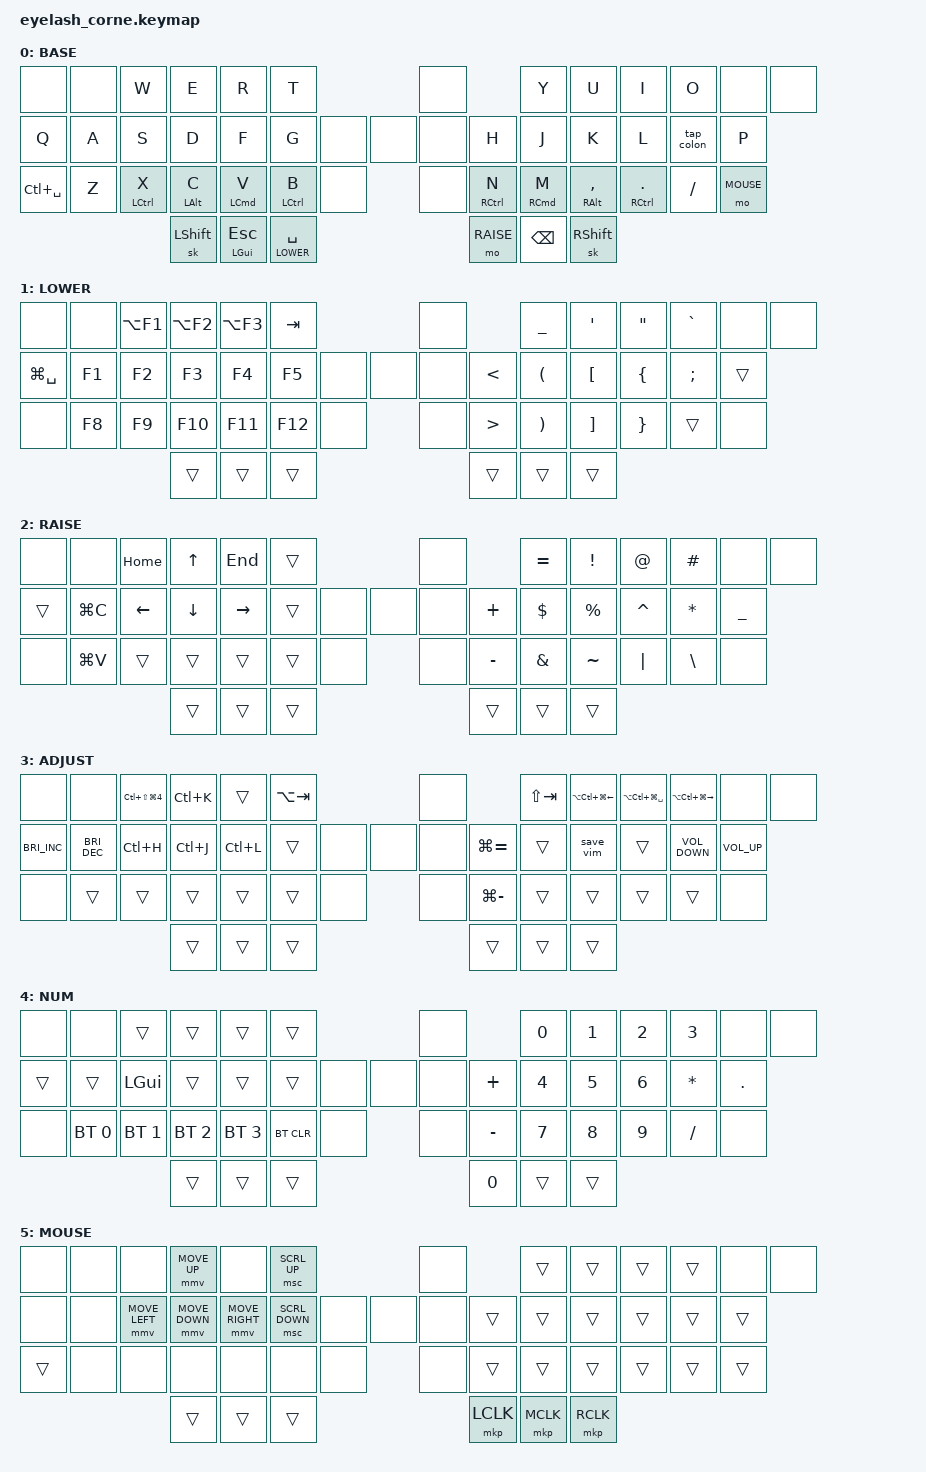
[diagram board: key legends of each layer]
/*
 * Scorpio 3 Keymap
 * ynot-keyboard layout ported to Eyelash Corne hardware + mouse layer
 *
 * Eyelash Corne 48-key matrix (positions per row: 13, 15, 14, 6 = 48 total):
 *
 * Row 0: | 0  | 1  | 2  | 3  | 4  | 5  |     | 6* |     | 7  | 8  | 9  | 10 | 11 | 12 |
 * Row 1: | 13 | 14 | 15 | 16 | 17 | 18 | 19* | 20*| 21* | 22 | 23 | 24 | 25 | 26 | 27 |
 * Row 2: | 28 | 29 | 30 | 31 | 32 | 33 | 34* |    | 35* | 36 | 37 | 38 | 39 | 40 | 41 |
 * Row 3:                     | 42 | 43 | 44 |          | 45 | 46 | 47 |
 *
 * 5-column ynot layout on 6-column board:
 *   Q and P moved to outer home row (pos 13 and 27) for pinky comfort
 *   Row 0 outer (0,1,11,12) = &none
 *   Row 2 outer: 28 = Ctrl+Space, 41 = mo MOUSE
 *   Center positions (6,19-21,34,35) = &none
 *
 * zmk-helpers 36.h label mapping (0=inner, 4=outer for left hand):
 *   LT0=4(T) LT1=3(R) LT2=2(E) LT3=1(W) LT4=0(Q)
 *   LM0=14(G) LM1=13(F) LM2=12(D) LM3=11(S) LM4=10(A)
 *   RT/RM: 0=inner(Y/H) to 4=outer(P/:)
 */

#define HM_TAPPING_TERM 300
#define HM_TAPPING_TERM_FAST 200
#define HM_PRIOR_IDLE 100

#include <behaviors.dtsi>
#include <dt-bindings/zmk/bt.h>
#include <dt-bindings/zmk/keys.h>
#include <dt-bindings/zmk/pointing.h>
#include <dt-bindings/zmk/mouse.h>

#define ZMK_MOUSE_DEFAULT_SCRL_VAL 80

#define BASE 0
#define LOWER 1
#define RAISE 2
#define ADJUST 3
#define NUMPAD 4
#define MOUSE 5

/* Key position groups for homerow mods (48-key positions) */
#define KEYS_L  1  2  3  4  5  13 14 15 16 17 18  29 30 31 32 33
#define KEYS_R  7  8  9  10 11  22 23 24 25 26 27  36 37 38 39 40
#define THUMBS  42 43 44  45 46 47

&lt {
    tapping-term-ms = <200>;
    quick-tap-ms = <150>;
    flavor = "tap-unless-interrupted";
};

&soft_off { hold-time-ms = <2000>; };

/ {
    behaviors {
        hml: homerow_mods_left {
            compatible = "zmk,behavior-hold-tap";
            #binding-cells = <2>;
            bindings = <&kp>, <&kp>;
            flavor = "balanced";
            tapping-term-ms = <HM_TAPPING_TERM>;
            quick-tap-ms = <175>;
            require-prior-idle-ms = <HM_PRIOR_IDLE>;
            hold-trigger-key-positions = <KEYS_R THUMBS>;
            hold-trigger-on-release;
        };

        hmr: homerow_mods_right {
            compatible = "zmk,behavior-hold-tap";
            #binding-cells = <2>;
            bindings = <&kp>, <&kp>;
            flavor = "balanced";
            tapping-term-ms = <HM_TAPPING_TERM>;
            quick-tap-ms = <175>;
            require-prior-idle-ms = <HM_PRIOR_IDLE>;
            hold-trigger-key-positions = <KEYS_L THUMBS>;
            hold-trigger-on-release;
        };

        hm: homerow_mods {
            compatible = "zmk,behavior-hold-tap";
            #binding-cells = <2>;
            bindings = <&kp>, <&kp>;
            flavor = "balanced";
            tapping-term-ms = <HM_TAPPING_TERM>;
            quick-tap-ms = <200>;
        };
    };
};

/ {
    macros {
        save_vim: save_vim {
            compatible = "zmk,behavior-macro";
            #binding-cells = <0>;
            bindings = <&kp ESCAPE &kp ESCAPE &kp SPACE &kp SPACE>;
            label = "SAVE_VIM";
        };

        tap_colon: super_colon {
            compatible = "zmk,behavior-macro";
            #binding-cells = <0>;
            bindings = <&kp COLON>;
            label = "SUPER_COLON";
        };
    };

    combos {
        compatible = "zmk,combos";
        timeout-ms = <30>;

        numlayer {
            bindings = <&sl NUMPAD>;
            key-positions = <17 16>;      /* F + D (LM1=13→17, LM2=12→16) */
        };

        homerow_hyperspace {
            bindings = <&kp LS(LA(LC(LG(SPACE))))>;
            key-positions = <43 46>;      /* esc + bspc thumbs */
        };

        return {
            bindings = <&kp RETURN>;
            key-positions = <24 25>;      /* K + L */
        };

        hyper {
            bindings = <&sk LA(LC(LG(LEFT_SHIFT)))>;
            key-positions = <42 47>;      /* shift_L + shift_R thumbs */
        };

        control_b {
            bindings = <&kp LC(B)>;
            key-positions = <14 26>;      /* A + : (LM4=10→14, RM4=19→26) */
        };

        caps_word_combo {
            bindings = <&caps_word>;
            key-positions = <30 31>;      /* X + C (LB3=21→30, LB2=22→31) */
        };

        softoff {
            bindings = <&soft_off>;
            key-positions = <1 15 29>;    /* col 1 top + S + Z */
        };
    };

    keymap {
        compatible = "zmk,keymap";

        default_layer {
            display-name = "BASE";
//          |     |     |  W  |  E  |  R  |  T  | joy  |  Y  |  U  |  I  |  O  |     |     |
//          |  Q  |  A  |  S  |  D  |  F  |  G  |j  j j|  H  |  J  |  K  |  L  |  :  |  P  |
//          |     |  Z  |  X  |  C  |  V  |  B  |enc jy|  N  |  M  |  ,  |  .  |  /  |     |
//                              |shft | esc | spc |      | rse |bspc |shft |
            bindings = <
&none   &none  &kp W                &kp E            &kp R                 &kp T                     &none                        &kp Y                 &kp U                 &kp I                 &kp O                   &none          &none
&kp Q   &kp A  &kp S                &kp D            &kp F                 &kp G          &none &none &none          &kp H                 &kp J                 &kp K                 &kp L                   &tap_colon     &kp P
&kp LC(SPACE)   &kp Z  &hml LEFT_CONTROL X  &hml LEFT_ALT C  &hml LEFT_COMMAND V   &hml LEFT_CONTROL B  &none      &none      &hmr RIGHT_CONTROL N  &hmr RIGHT_COMMAND M  &hmr RIGHT_ALT COMMA  &hmr RIGHT_CONTROL DOT  &kp SLASH      &mo MOUSE
                                    &sk LEFT_SHIFT   &hmr LEFT_GUI ESCAPE  &lt LOWER SPACE                          &mo RAISE             &kp BACKSPACE         &sk RIGHT_SHIFT
            >;
        };

        lower_layer {
            display-name = "LOWER";
            bindings = <
&none          &none  &kp LA(F1)  &kp LA(F2)  &kp LA(F3)  &kp TAB                  &none                    &kp UNDER          &kp SINGLE_QUOTE       &kp DOUBLE_QUOTES   &kp GRAVE       &none          &none
&kp LG(SPACE)  &kp F1  &kp F2     &kp F3      &kp F4      &kp F5        &none &none &none        &kp LESS_THAN      &kp LEFT_PARENTHESIS   &kp LEFT_BRACKET    &kp LEFT_BRACE   &kp SEMICOLON  &trans
&none          &kp F8  &kp F9     &kp F10     &kp F11     &kp F12  &none      &none        &kp GREATER_THAN   &kp RIGHT_PARENTHESIS  &kp RIGHT_BRACKET   &kp RIGHT_BRACE  &trans         &none
                                  &trans      &trans      &trans                            &trans             &trans                 &trans
            >;
        };

        raise_layer {
            display-name = "RAISE";
            bindings = <
&none   &none      &kp HOME  &kp UP    &kp END    &trans                    &none                    &kp EQUAL  &kp EXCL       &kp AT       &kp HASH   &none          &none
&trans  &kp LG(C)  &kp LEFT  &kp DOWN  &kp RIGHT  &trans         &none &none &none        &kp PLUS   &kp DOLLAR     &kp PERCENT  &kp CARET  &kp STAR       &kp UNDER
&none   &kp LG(V)  &trans    &trans    &trans     &trans    &none      &none        &kp MINUS  &kp AMPERSAND  &kp TILDE    &kp PIPE   &kp BACKSLASH  &none
                              &trans    &trans     &trans                            &trans     &trans         &trans
            >;
        };

        adjust_layer {
            display-name = "ADJUST";
            bindings = <
&none                  &none                 &kp LC(LS(LG(N4)))  &kp LC(K)  &trans     &kp LA(TAB)                &none                    &kp LS(TAB)    &kp LA(LC(LG(LEFT)))  &kp LA(LC(LG(SPACE)))  &kp LA(LC(LG(RIGHT)))  &none              &none
&kp C_BRIGHTNESS_INC   &kp C_BRIGHTNESS_DEC  &kp LC(H)           &kp LC(J)  &kp LC(L)  &trans          &none &none &none        &kp LG(EQUAL)  &trans                &save_vim              &trans                 &kp C_VOLUME_DOWN  &kp C_VOLUME_UP
&none                  &trans                &trans              &trans     &trans     &trans     &none      &none        &kp LG(MINUS)  &trans                &trans                 &trans                 &trans             &none
                                                                &trans     &trans     &trans                              &trans         &trans                &trans
            >;
        };

        numpad_layer {
            display-name = "NUM";
            bindings = <
&none   &none         &trans        &trans        &trans        &trans                      &none                    &kp N0     &kp N1  &kp N2  &kp N3  &none       &none
&trans  &trans        &kp LEFT_GUI  &trans        &trans        &trans          &none &none &none        &kp PLUS   &kp N4  &kp N5  &kp N6  &kp STAR    &kp PERIOD
&none   &bt BT_SEL 0  &bt BT_SEL 1  &bt BT_SEL 2  &bt BT_SEL 3  &bt BT_CLR &none      &none        &kp MINUS  &kp N7  &kp N8  &kp N9  &kp SLASH   &none
                                    &trans        &trans        &trans                                &kp N0     &trans  &trans
            >;
        };

        mouse_layer {
            display-name = "MOUSE";
            bindings = <
&none   &none  &none            &mmv MOVE_UP    &none             &msc SCRL_UP                       &none                    &trans  &trans  &trans  &trans  &none   &none
&none   &none  &mmv MOVE_LEFT   &mmv MOVE_DOWN  &mmv MOVE_RIGHT   &msc SCRL_DOWN      &none &none &none        &trans  &trans  &trans  &trans  &trans  &trans
&trans  &none  &none            &none           &none             &none          &none      &none        &trans  &trans  &trans  &trans  &trans  &trans
                                &trans          &trans            &trans                                 &mkp LCLK  &mkp MCLK  &mkp RCLK
            >;
        };
    };

    conditional_layers {
        compatible = "zmk,conditional-layers";

        tri-layer {
            if-layers = <LOWER RAISE>;
            then-layer = <ADJUST>;
        };
    };
};
